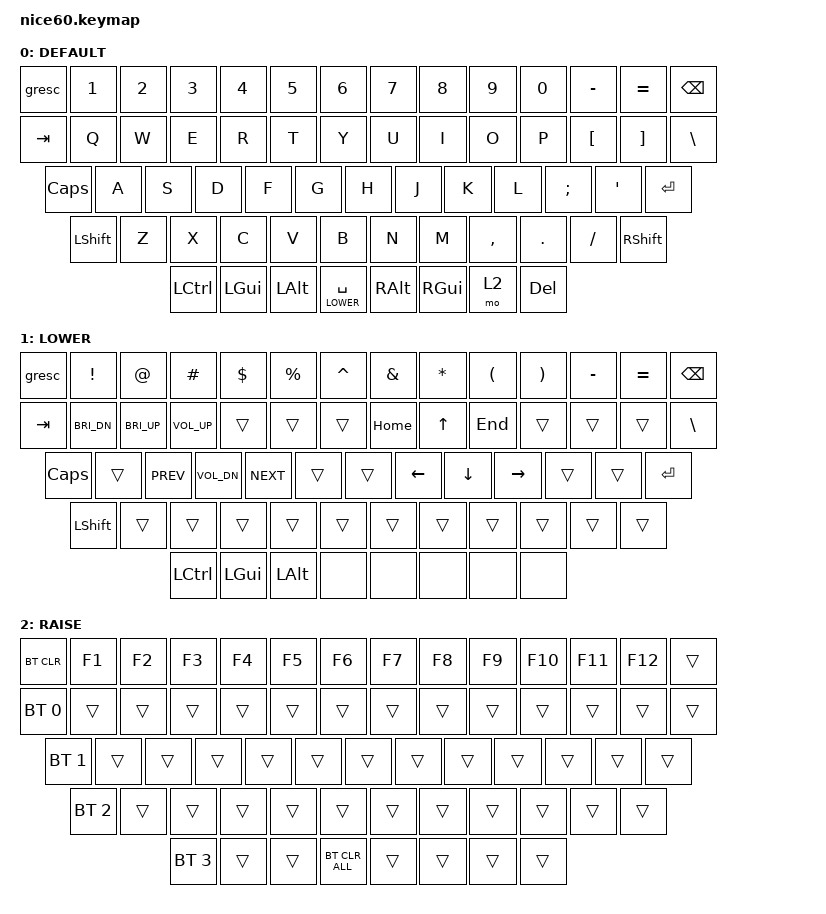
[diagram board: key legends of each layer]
/*
 * Copyright (c) 2021 Nick Winans
 *
 * SPDX-License-Identifier: MIT
 */
#define DEFAULT 0
#define LOWER 1
#define RAISE 2


#include <behaviors.dtsi>
#include <dt-bindings/zmk/keys.h>
#include <dt-bindings/zmk/rgb.h>
#include <dt-bindings/zmk/bt.h>
#include <dt-bindings/zmk/outputs.h>
#include <dt-bindings/zmk/reset.h>
#include <dt-bindings/zmk/ext_power.h>

/ {
	keymap {
		compatible = "zmk,keymap";

		DEFAULT {
// ------------------------------------------------------------------------------------------
// | ESC |  1  |  2  |  3  |  4  |  5  |  6  |  7  |  8  |  9  |  0  |  -  |  =  |   BKSP   |
// | TAB  |  Q  |  W  |  E  |  R  |  T  |  Y  |  U  |  I  |  O  |  P  |  [  |  ]  |   "|"   |
// | CAPS  |  A  |  S  |  D  |  F  |  G  |  H  |  J  |  K  |  L  |  ;  |  '  |     ENTER    |
// |  SHIFT  |  Z  |  X  |  C  |  V  |  B  |  N  |  M  |  ,  |  .  |  /  |      SHIFT       |
// |  CTL  |  WIN  |  ALT  |            SPACE              |  ALT  |  WIN  |  MO(1) |  DEL  |
// ------------------------------------------------------------------------------------------
			bindings = <
	&gresc  &kp N1 &kp N2 &kp N3 &kp N4 &kp N5 &kp N6 &kp N7 &kp N8 &kp N9 &kp N0 &kp MINUS &kp EQUAL  &kp BSPC
	&kp TAB  &kp Q  &kp W  &kp E  &kp R  &kp T  &kp Y  &kp U  &kp I  &kp O  &kp P  &kp LBKT  &kp RBKT  &kp BSLH
	&kp CLCK  &kp A  &kp S  &kp D  &kp F  &kp G  &kp H  &kp J  &kp K  &kp L  &kp SEMI &kp SQT           &kp RET
	&kp LSHFT   &kp Z  &kp X  &kp C  &kp V  &kp B  &kp N  &kp M  &kp COMMA &kp DOT &kp FSLH           &kp RSHFT
	&kp LCTRL &kp LGUI &kp LALT             &lt LOWER SPACE               &kp RALT  &kp RGUI  &mo 2   &kp DEL
			>;
		};

		LOWER {
// ------------------------------------------------------------------------------------------
// | ESC | BR_UP | BR_DN  |  3  |  4  |  5  |  6  |  7  |  8  |  9  |  0  |  -  |  =  |   BKSP   |
// | TAB  |  Q  |  W  | VOL_UP  |  R  |  T  |  Y  |  U  |  I  |  O  |  P  |  [  |  ]  |   "|"   |
// | CAPS  |  A  |  S  |VOL_DN |  F  |  G  |  H  |  J  |  K  |  L  |  ;  |  '  |     ENTER    |
// |  SHIFT  |  Z  |  X  |  C  |  V  |  B  |  N  |  M  |  ,  |  .  |  /  |      SHIFT       |
// |  CTL  |  WIN  |  ALT  |            SPACE              |  ALT  |  WIN  |  MO(1) |  CTL  |
// ------------------------------------------------------------------------------------------
			bindings = <
	&gresc   &kp EXCL    &kp AT    &kp HASH  &kp DLLR           &kp PRCNT          &kp CARET          &kp AMPS          &kp ASTRK  &kp LPAR   &kp RPAR  &kp MINUS &kp EQUAL  &kp BSPC
	&kp TAB  &kp C_BRI_DN    &kp C_BRI_UP    &kp C_VOL_UP  &trans  &trans &trans &kp HOME  &kp UP   &kp END   &trans   &trans  &trans          &kp BSLH 
	&kp CLCK   &trans  &kp C_PREV  &kp C_VOL_DN &kp C_NEXT &trans &trans &kp LEFT &kp DOWN   &kp RIGHT   &trans   &trans        &kp RET
	&kp LSHFT    &trans    &trans    &trans   &trans          &trans          &trans          &trans          &trans   &trans   &trans                          &trans
	&kp LCTRL  &kp LGUI   &kp LALT                            &none                                      &none      &none      &none               &none
			>;
		};
		
		RAISE {
// ------------------------------------------------------------------------------------------------
// | BT CLR | F1  | F2  | F3  | F4  | F5  | F6  | F7  | F8  | F9  | F10  | F11 | F12 | EFFECT REV |
// |  BT 1   |   |  UP |   | HUEUP | SATUP | BRIUP | SPDUP |   |     |    |     |     |           |
// |   BT 2   | LT |  DN  | RT | HUEDN | SATDN | BRIDN | SPDDN |   |     |   |     |  EFFECT FORW |
// |    BT 3     |     |      |      |     |     |     |     |     |     |     |                  |
// |   BT 4  |      |      |             TOG RGB                | PRT SCR |       |       |  DEL  |
// ------------------------------------------------------------------------------------------------
			bindings = <
	&bt BT_CLR   &kp F1    &kp F2    &kp F3  &kp F4           &kp F5          &kp F6          &kp F7          &kp F8   &kp F9   &kp F10  &kp F11 &kp F12  &trans
	&bt BT_SEL 0  &trans    &trans    &trans  &trans  &trans &trans &trans  &trans   &trans   &trans   &trans  &trans          &trans 
	&bt BT_SEL 1   &trans  &trans  &trans &trans &trans &trans &trans &trans   &trans   &trans   &trans        &trans
	&bt BT_SEL 2    &trans    &trans    &trans   &trans          &trans          &trans          &trans          &trans   &trans   &trans                          &trans
	&bt BT_SEL 3  &trans   &trans                            &bt BT_CLR_ALL                                      &trans      &trans      &trans               &trans
			>;
		};
	};
};
